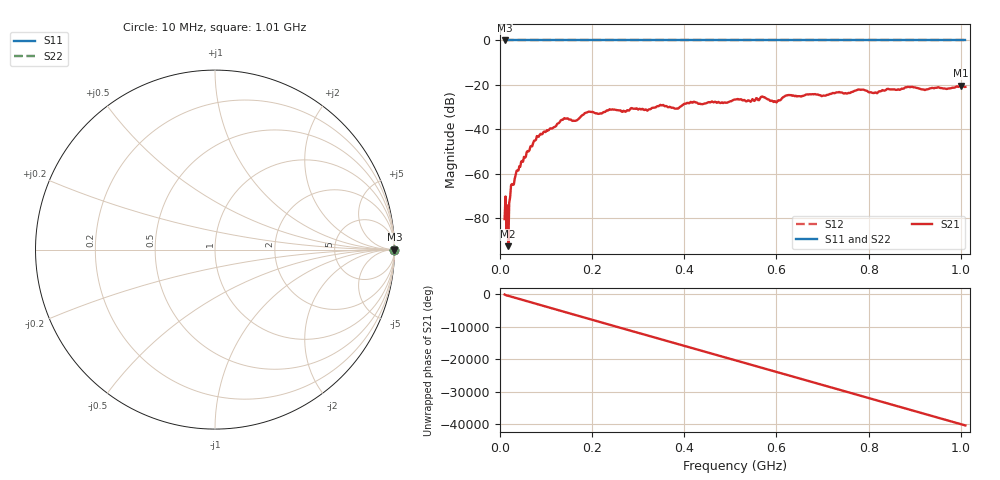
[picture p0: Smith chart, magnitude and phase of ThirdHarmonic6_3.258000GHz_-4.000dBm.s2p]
! 8/17/2025 10:02:41 AM
! C:\ANRITSUVNA\TEMP\TEMP.S2P
! CHANNEL.1
! TR.MEASUREMENT
! RAW.DATA
! RF.CORRECTION.OFF
! AVERAGING.OFF
! IF.BANDWIDTH: 5KHZ
! SWEEPTYPE:  FREQ.SWEEP(Linear)
! Reference Plane Port Info
! PORT:  PORT1  PORT2
! DISTANCE:  0  m  0  m
! TIME:  0  s  0  s
! PHASE.OFFSET:  0  deg.  0  deg.
! LOSS:  0  dB  0  dB
! REF.LOSS:  0  dB  0  dB
! REF.FREQ:  0  Hz  0  Hz
! Power Info
! POWER:  -20  dBm  -20  dBm
! EFF.POWER:  -20  dBm  -20  dBm
! SOURCE.ATTEN:  0  dB  0  dB
! TEST.ATTEN:  0  dB  0  dB
# GHZ S RI R 50.0
! FREQ.GHZ  S11RE  S11IM  S21RE  S21IM  S12RE  S12IM  S22RE  S22IM
!; PortSelection: Port_12
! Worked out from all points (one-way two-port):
!   501 points, 10 MHz to 1.01 GHz, reference 50 ohm
!   highest |S21| = -20.36 dB at 1 GHz (marker M1); lowest = -92.7 dB at 18 MHz (marker M2)
!   lowest |S11| = 0.0 dB at 10 MHz (marker M3)
!   |S11| at or under -10 dB: nowhere
!   |S22| runs from 0.0 to 0.0 dB; largest |S21 - S12| = 1.1
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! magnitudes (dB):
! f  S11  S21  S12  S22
! 10 MHz  0.0  -80.5  0.0  0.0
! 18 MHz  0.0  -92.7  0.0  0.0
! 24 MHz  0.0  -65.2  0.0  0.0
! 38 MHz  0.0  -58.5  0.0  0.0
! 78 MHz  0.0  -44.8  0.0  0.0
! 136 MHz  0.0  -35.8  0.0  0.0
! 162 MHz  0.0  -36.2  0.0  0.0
! 178 MHz  0.0  -33.8  0.0  0.0
! 192 MHz  0.0  -32.1  0.0  0.0
! 318 MHz  0.0  -31.3  0.0  0.0
! 344 MHz  0.0  -29.7  0.0  0.0
! 384 MHz  0.0  -30.7  0.0  0.0
! 418 MHz  0.0  -28.1  0.0  0.0
! 510 MHz  0.0  -26.6  0.0  0.0
! 570 MHz  0.0  -25.3  0.0  0.0
! 598 MHz  0.0  -27.5  0.0  0.0
! 624 MHz  0.0  -24.7  0.0  0.0
! 678 MHz  0.0  -24.2  0.0  0.0
! 814 MHz  0.0  -23.4  0.0  0.0
! 844 MHz  0.0  -21.9  0.0  0.0
! 1 GHz  0.0  -20.4  0.0  0.0
! 1.01 GHz  0.0  -20.9  0.0  0.0
